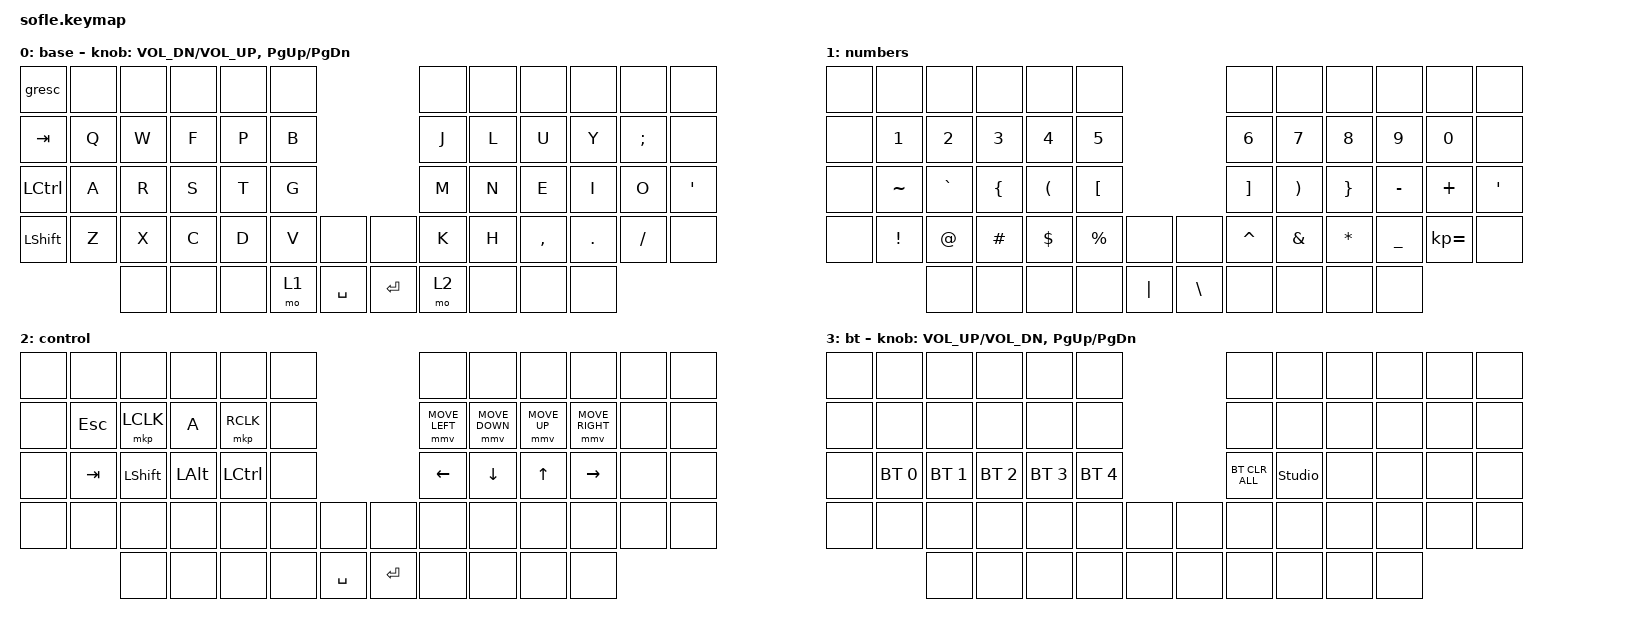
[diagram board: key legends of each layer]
/*
 * Copyright (c) 2020 The ZMK Contributors
 *
 * SPDX-License-Identifier: MIT
 */

#include <behaviors.dtsi>
#include <dt-bindings/zmk/bt.h>
#include <dt-bindings/zmk/keys.h>
#include <dt-bindings/zmk/pointing.h>
#include <dt-bindings/zmk/pointing.h>

#define BASE 0
#define LOWER 1
#define RAISE 2
#define ADJUST 3

/ {
    // Activate ADJUST layer by pressing raise and lower

    conditional_layers {
        compatible = "zmk,conditional-layers";

        bluetooth {
            if-layers = <1 2>;
            then-layer = <3>;
        };
    };

    combos {
        compatible = "zmk,combos";

        backspace {
            bindings = <&kp BACKSPACE>;
            key-positions = <32 31>;
        };
    };

    behaviors {
        caps: caps {
            compatible = "zmk,behavior-caps-word";
            label = "CAPS";
            #binding-cells = <0>;
            continue-list = <POUND MINUS BACKSPACE UNDERSCORE>;
        };
    };

    keymap {
        compatible = "zmk,keymap";

        base {
            display-name = "base";

            // ------------------------------------------------------------------------------------------------------------
            // |   `   |  1  |  2  |  3   |  4   |  5   |                   |  6   |  7    |  8    |  9   |   0   |       |
            // |  ESC  |  Q  |  W  |  E   |  R   |  T   |                   |  Y   |  U    |  I    |  O   |   P   | BKSPC |
            // |  TAB  |  A  |  S  |  D   |  F   |  G   |                   |  H   |  J    |  K    |  L   |   ;   |   '   |
            // | SHIFT |  Z  |  X  |  C   |  V   |  B   |  MUTE  |  |       |  N   |  M    |  ,    |  .   |   /   | SHIFT |
            //               | GUI | ALT  | CTRL | LOWER|  ENTER |  | SPACE | RAISE| CTRL  | ALT   | GUI  |

            bindings = <
&gresc     &none  &none  &none  &none  &none                        &none  &none  &none      &none    &none     &none
&kp TAB    &kp Q  &kp W  &kp F  &kp P  &kp B                        &kp J  &kp L  &kp U      &kp Y    &kp SEMI  &none
&kp LCTRL  &kp A  &kp R  &kp S  &kp T  &kp G                        &kp M  &kp N  &kp E      &kp I    &kp O     &kp SINGLE_QUOTE
&kp LSHFT  &kp Z  &kp X  &kp C  &kp D  &kp V  &none        &none    &kp K  &kp H  &kp COMMA  &kp DOT  &kp FSLH  &none
                  &none  &none  &none  &mo 1  &kp SPACE    &kp RET  &mo 2  &none  &none      &none
            >;

            sensor-bindings = <&inc_dec_kp C_VOL_DN C_VOL_UP &inc_dec_kp PG_UP PG_DN>;
        };

        numbers {
            bindings = <
&none  &none      &none      &none           &none                 &none                                   &none      &none                  &none            &none      &none         &none
&none  &kp N1     &kp N2     &kp N3          &kp N4                &kp N5                                  &kp N6     &kp N7                 &kp N8           &kp N9     &kp N0        &none
&none  &kp TILDE  &kp GRAVE  &kp LEFT_BRACE  &kp LEFT_PARENTHESIS  &kp LBKT                                &kp RBKT   &kp RIGHT_PARENTHESIS  &kp RIGHT_BRACE  &kp MINUS  &kp PLUS      &kp APOSTROPHE
&none  &kp EXCL   &kp AT     &kp HASH        &kp DOLLAR            &kp PERCENT  &none       &none          &kp CARET  &kp AMPERSAND          &kp STAR         &kp UNDER  &kp KP_EQUAL  &none
                  &none      &none           &none                 &none        &kp PIPE    &kp BACKSLASH  &none      &none                  &none            &none
            >;

            label = "numbers";
        };

        control {
            bindings = <
&none  &none       &none           &none         &none             &none                          &none           &none           &none         &none            &none  &none
&none  &kp ESCAPE  &mkp LCLK       &kp A         &mkp RCLK         &none                          &mmv MOVE_LEFT  &mmv MOVE_DOWN  &mmv MOVE_UP  &mmv MOVE_RIGHT  &none  &none
&none  &kp TAB     &kp LEFT_SHIFT  &kp LEFT_ALT  &kp LEFT_CONTROL  &none                          &kp LEFT        &kp DOWN        &kp UP_ARROW  &kp RIGHT        &none  &none
&none  &none       &none           &none         &none             &none  &none        &none      &none           &none           &none         &none            &none  &none
                   &none           &none         &none             &none  &kp SPACE    &kp ENTER  &none           &none           &none         &none
            >;

            label = "control";
        };

        bluetooth {
            // ----------------------------------------------------------------------------------------------------------------------------
            // | BTCLR  |  BT1    |  BT2    |   BT3   |   BT4   |   BT5   |                  |      |      |       |      |       |       |
            // | EXTPWR | RGB_HUD | RGB_HUI | RGB_SAD | RGB_SAI | RGB_EFF |                  |      |      |       |      |       |       |
            // |        | RGB_BRD | RGB_BRI |         |         |         |                  |      |      |       |      |       |       |
            // |        |         |         |         |         |         | RGB_TOG | |      |      |      |       |      |       |       |
            //                    |         |         |         |         |         | |      |      |      |       |      |

            display-name = "bt";
            bindings = <
&none  &none         &none         &none         &none         &none                         &none           &none           &none  &none  &none  &none
&none  &none         &none         &none         &none         &none                         &none           &none           &none  &none  &none  &none
&none  &bt BT_SEL 0  &bt BT_SEL 1  &bt BT_SEL 2  &bt BT_SEL 3  &bt BT_SEL 4                  &bt BT_CLR_ALL  &studio_unlock  &none  &none  &none  &none
&none  &none         &none         &none         &none         &none         &none    &none  &none           &none           &none  &none  &none  &none
                     &none         &none         &none         &none         &none    &none  &none           &none           &none  &none
            >;

            sensor-bindings = <&inc_dec_kp C_VOL_UP C_VOL_DN &inc_dec_kp PG_UP PG_DN>;
        };
    };
};
